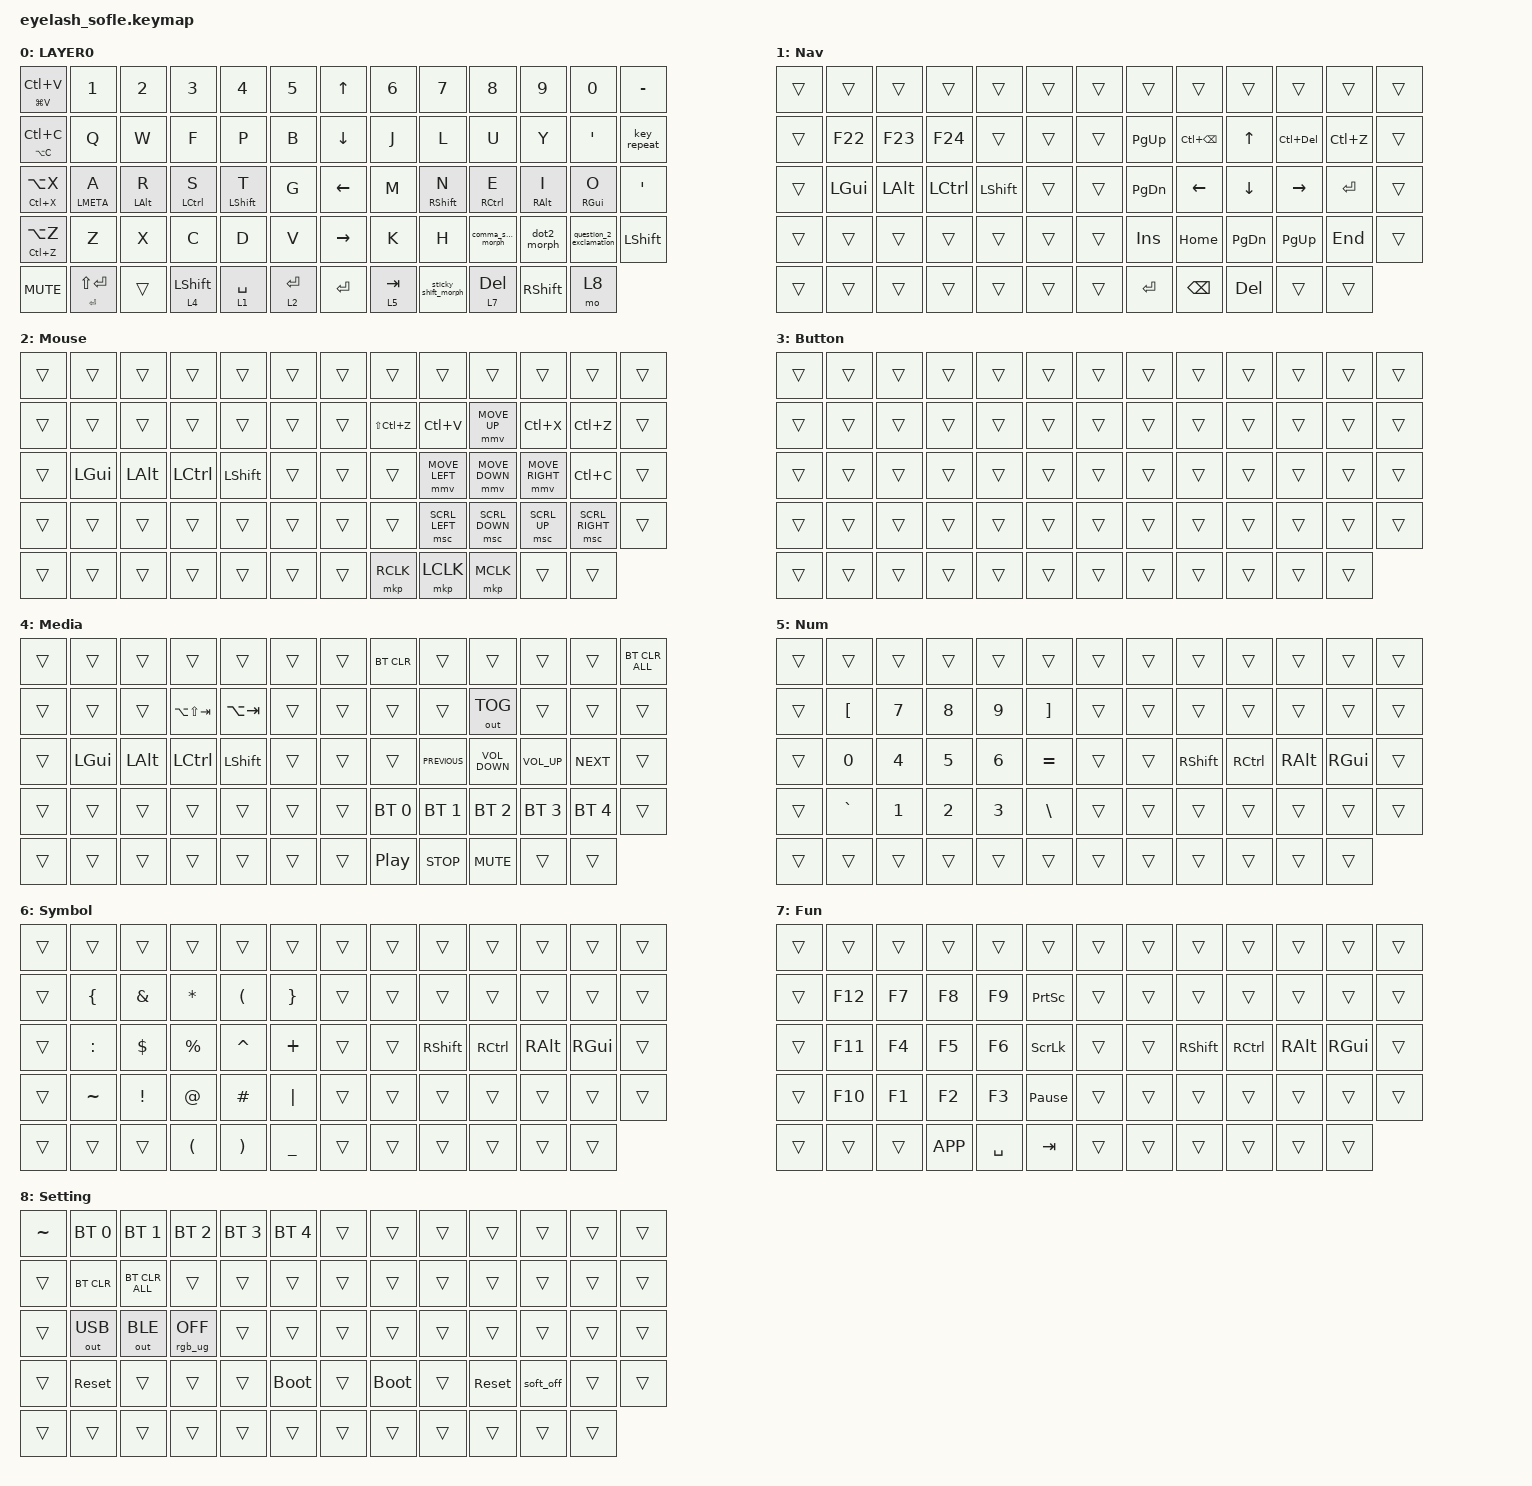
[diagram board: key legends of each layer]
#define ZMK_POINTING_DEFAULT_MOVE_VAL 1200  // 600
#define ZMK_POINTING_DEFAULT_SCRL_VAL 35    // 10

#include <input/processors.dtsi>
#include <zephyr/dt-bindings/input/input-event-codes.h>
#include <behaviors.dtsi>
#include <dt-bindings/zmk/bt.h>
#include <dt-bindings/zmk/keys.h>
#include <dt-bindings/zmk/outputs.h>
#include <dt-bindings/zmk/pointing.h>
#include <dt-bindings/zmk/rgb.h>

/ {
    zip_scroll_scaler: zip_scroll_scaler {
        compatible = "zmk,input-processor-scaler";
        #input-processor-cells = <2>;
        type = <INPUT_EV_REL>;
        codes = <INPUT_REL_WHEEL INPUT_REL_HWHEEL>;
        track-remainders;
    };
};

&mmv_input_listener { input-processors = <&zip_xy_scaler 2 1>; };

&msc_input_listener { input-processors = <&zip_scroll_scaler 2 1>; };

&msc {
    delay-ms = <0>;                   // 0
};

&mmv {
};

&soft_off { hold-time-ms = <2000>; };

&mt {
    flavor = "balanced";
    quick-tap-ms = <170>;
    hold-trigger-key-positions = <7 8 9 10 11 12 20 21 22 23 24 25 33 34 35 36 37 38 46 47 48 49 50 51 59 60 61 62 63>;
    hold-trigger-on-release;
    require-prior-idle-ms = <150>;
    tapping-term-ms = <280>;
};

&lt {
    tapping-term-ms = <250>;
    quick-tap-ms = <170>;
    flavor = "balanced";
};

/ {
    mt_right: mt_right {
        compatible = "zmk,behavior-hold-tap";
        label = "MT_RIGHT";
        bindings = <&kp>, <&kp>;

        #binding-cells = <2>;
        tapping-term-ms = <280>;
        quick-tap-ms = <170>;
        flavor = "balanced";
        hold-trigger-key-positions = <0 1 2 3 4 5 13 14 15 16 17 18 26 27 28 29 30 31 39 40 41 42 43 44 53 54 55 56 57>;
        hold-trigger-on-release;
        require-prior-idle-ms = <150>;
    };

    sticky_shift_lt: sticky_shift_lt {
        compatible = "zmk,behavior-hold-tap";
        label = "STICKY_SHIFT_LT";
        bindings = <&kp>, <&sk>;

        #binding-cells = <2>;
        flavor = "balanced";
        tapping-term-ms = <200>;
    };

    sticky_shift_morph: sticky_shift_morph {
        compatible = "zmk,behavior-mod-morph";
        label = "STICKY_SHIFT_MORPH";
        bindings = <&sticky_shift_lt LEFT_SHIFT LEFT_SHIFT>, <&caps_word>;

        #binding-cells = <0>;
        mods = <(MOD_LSFT)>;
    };

    question_2_exclamation: question_2_exclamation {
        compatible = "zmk,behavior-mod-morph";
        label = "QUESTION_2_EXCLAMATION";
        bindings = <&kp QUESTION>, <&kp EXCLAMATION>;

        #binding-cells = <0>;
        mods = <(MOD_LSFT)>;
    };

    mt_jk_morph: mt_jk_morph {
        compatible = "zmk,behavior-mod-morph";
        label = "MT_JK_MORPH";
        bindings = <&mt_right LS(LCTRL) LEFT_PARENTHESIS>, <&kp LESS_THAN>;

        #binding-cells = <0>;
        mods = <(MOD_LSFT|MOD_RSFT)>;
    };

    mt_kl_morph: mt_kl_morph {
        compatible = "zmk,behavior-mod-morph";
        label = "MT_KL_MORPH";
        bindings =
            <&mt_right RC(RIGHT_ALT) RIGHT_PARENTHESIS>,
            <&kp GREATER_THAN>;

        #binding-cells = <0>;
        mods = <(MOD_LSFT|MOD_RSFT)>;
    };

    comma_semicolon_morph: comma_semicolon_morph {
        compatible = "zmk,behavior-mod-morph";
        label = "COMMA_SEMICOLON_MORPH";
        bindings = <&kp COMMA>, <&kp SEMICOLON>;

        #binding-cells = <0>;
        mods = <(MOD_LSFT|MOD_RSFT)>;
    };

    dot2_morph: dot2_morph {
        compatible = "zmk,behavior-mod-morph";
        label = "DOT2_MORPH";
        bindings = <&kp PERIOD>, <&kp COLON>;

        #binding-cells = <0>;
        mods = <(MOD_LSFT|MOD_RSFT)>;
    };

    behaviors {
    };

    combos {
        compatible = "zmk,combos";

        softoff {
            bindings = <&soft_off>;
            key-positions = <14 28 40>;
        };

        right_bracket {
            bindings = <&kp RIGHT_BRACKET>;
            key-positions = <48 49>;
            require-prior-idle-ms = <120>;
            layers = <0>;
        };

        left_bracket {
            bindings = <&kp LEFT_BRACKET>;
            key-positions = <47 48>;
            require-prior-idle-ms = <120>;
            layers = <0>;
        };

        caret_ju {
            bindings = <&kp CARET>;
            key-positions = <20 33>;
            require-prior-idle-ms = <120>;
        };

        underscore_hn {
            bindings = <&kp UNDERSCORE>;
            key-positions = <33 46>;
            require-prior-idle-ms = <120>;
        };

        backspace_ui {
            bindings = <&kp BACKSPACE>;
            key-positions = <21 22>;
            require-prior-idle-ms = <200>;
            timeout-ms = <40>;
        };

        del_io {
            bindings = <&kp DEL>;
            key-positions = <22 23>;
            require-prior-idle-ms = <150>;
            timeout-ms = <30>;
        };

        Esc_we {
            bindings = <&kp ESCAPE>;
            key-positions = <15 16>;
            require-prior-idle-ms = <150>;
        };

        copy_xc {
            bindings = <&kp LC(C)>;
            key-positions = <41 42>;
            require-prior-idle-ms = <120>;
        };

        paste_cv {
            bindings = <&kp LC(V)>;
            key-positions = <42 43>;
        };

        cut_xv {
            bindings = <&kp LC(X)>;
            key-positions = <41 43>;
        };

        o_o {
            bindings = <&kp PERCENT>;
            key-positions = <18 31>;
            require-prior-idle-ms = <120>;
        };

        tilde_gb {
            bindings = <&kp TILDE>;
            key-positions = <31 44>;
            require-prior-idle-ms = <120>;
        };

        plus_uj {
            bindings = <&kp PLUS>;
            key-positions = <21 34>;
        };

        minus_jm {
            bindings = <&kp MINUS>;
            key-positions = <34 47>;
        };

        asterisk_ik {
            bindings = <&kp ASTERISK>;
            key-positions = <22 35>;
        };

        divident_k {
            bindings = <&kp SLASH>;
            key-positions = <35 48>;
        };

        and_ol {
            bindings = <&kp AMPERSAND>;
            key-positions = <23 36>;
        };

        pipe_Ldot {
            bindings = <&kp PIPE>;
            key-positions = <36 49>;
        };

        at_ws {
            bindings = <&kp AT_SIGN>;
            key-positions = <15 28>;
        };

        backtick_sx {
            bindings = <&kp GRAVE>;
            key-positions = <28 41>;
        };

        hash_ed {
            bindings = <&kp HASH>;
            key-positions = <29 16>;
        };

        backslash_dc {
            bindings = <&kp BACKSLASH>;
            key-positions = <29 42>;
        };

        dollar_rf {
            bindings = <&kp DOLLAR>;
            key-positions = <17 30>;
        };

        equal_fv {
            bindings = <&kp EQUAL>;
            key-positions = <30 43>;
        };

        less_than {
            bindings = <&kp LESS_THAN>;
            key-positions = <34 35 60>;
        };

        greater_than {
            bindings = <&kp GREATER_THAN>;
            key-positions = <35 36 60>;
        };

        left_brace_nav {
            bindings = <&kp LEFT_BRACE>;
            key-positions = <47 48>;
            layers = <1>;
        };

        right_brace_nav {
            bindings = <&kp RIGHT_BRACE>;
            key-positions = <49 48>;
            layers = <1>;
        };

        mod_tap_combo_JK {
            bindings = <&mt_jk_morph>;
            key-positions = <34 35>;
            layers = <0 5>;
            timeout-ms = <20>;
        };

        mod_tap_combo_KL {
            bindings = <&mt_kl_morph>;
            key-positions = <35 36>;
            layers = <0 5>;
            timeout-ms = <20>;
        };

        mod_tap_combo_SD {
            bindings = <&mt LA(LCTRL) TAB>;
            key-positions = <28 29>;
            timeout-ms = <20>;
        };

        greater_than_nav {
            bindings = <&kp GREATER_THAN>;
            key-positions = <35 36>;
            layers = <1>;
            timeout-ms = <20>;
        };

        less_than_nav {
            bindings = <&kp LESS_THAN>;
            key-positions = <34 35>;
            layers = <1>;
            timeout-ms = <20>;
        };
    };

    keymap {
        compatible = "zmk,keymap";

        layer0 {
            bindings = <
&mt LG(V) LC(V)  &kp N1               &kp N2          &kp N3              &kp N4            &kp N5         &kp UP_ARROW     &kp N6     &kp N7                   &kp N8                     &kp N9                 &kp N0                   &kp MINUS
&mt LA(C) LC(C)  &kp Q                &kp W           &kp F               &kp P             &kp B          &kp DOWN_ARROW   &kp J      &kp L                    &kp U                      &kp Y                  &kp SQT                  &key_repeat
&mt LC(X) LA(X)  &mt LMETA A          &mt LEFT_ALT R  &mt LEFT_CONTROL S  &mt LEFT_SHIFT T  &kp G          &kp LEFT_ARROW   &kp M      &mt_right RIGHT_SHIFT N  &mt_right RIGHT_CONTROL E  &mt_right RIGHT_ALT I  &mt_right RIGHT_GUI O    &kp APOS
&mt LC(Z) LA(Z)  &kp Z                &kp X           &kp C               &kp D             &kp V          &kp RIGHT_ARROW  &kp K      &kp H                    &comma_semicolon_morph     &dot2_morph            &question_2_exclamation  &kp LEFT_SHIFT
&kp C_MUTE       &mt ENTER LS(ENTER)  &trans          &lt 4 LEFT_SHIFT    &lt 1 SPACE       &lt 2 ENTER    &kp ENTER        &lt 5 TAB  &sticky_shift_morph      &lt 7 DELETE               &kp RIGHT_SHIFT        &mo 8
            >;

            display-name = "LAYER0";
        };

        Nav {
            bindings = <
&trans  &trans    &trans    &trans     &trans     &trans    &trans  &trans         &trans             &trans         &trans          &trans     &trans
&trans  &kp F22   &kp F23   &kp F24    &trans     &trans    &trans  &kp PAGE_UP    &kp LC(BACKSPACE)  &kp UP         &kp LC(DELETE)  &kp LC(Z)  &trans
&trans  &kp LGUI  &kp LALT  &kp LCTRL  &kp LSHFT  &trans    &trans  &kp PAGE_DOWN  &kp LEFT           &kp DOWN       &kp RIGHT       &kp ENTER  &trans
&trans  &trans    &trans    &trans     &trans     &trans    &trans  &kp INS        &kp HOME           &kp PAGE_DOWN  &kp PAGE_UP     &kp END    &trans
&trans  &trans    &trans    &trans     &trans     &trans    &trans  &kp ENTER      &kp BSPC           &kp DELETE     &trans          &trans
            >;
        };

        Mouse {
            bindings = <
&trans  &trans    &trans    &trans     &trans     &trans    &trans  &trans         &trans          &trans          &trans           &trans           &trans
&trans  &trans    &trans    &trans     &trans     &trans    &trans  &kp LS(LC(Z))  &kp LC(V)       &mmv MOVE_UP    &kp LC(X)        &kp LC(Z)        &trans
&trans  &kp LGUI  &kp LALT  &kp LCTRL  &kp LSHFT  &trans    &trans  &trans         &mmv MOVE_LEFT  &mmv MOVE_DOWN  &mmv MOVE_RIGHT  &kp LC(C)        &trans
&trans  &trans    &trans    &trans     &trans     &trans    &trans  &trans         &msc SCRL_LEFT  &msc SCRL_DOWN  &msc SCRL_UP     &msc SCRL_RIGHT  &trans
&trans  &trans    &trans    &trans     &trans     &trans    &trans  &mkp RCLK      &mkp LCLK       &mkp MCLK       &trans           &trans
            >;
        };

        Button {
            bindings = <
&trans  &trans  &trans  &trans  &trans  &trans    &trans  &trans  &trans  &trans  &trans  &trans  &trans
&trans  &trans  &trans  &trans  &trans  &trans    &trans  &trans  &trans  &trans  &trans  &trans  &trans
&trans  &trans  &trans  &trans  &trans  &trans    &trans  &trans  &trans  &trans  &trans  &trans  &trans
&trans  &trans  &trans  &trans  &trans  &trans    &trans  &trans  &trans  &trans  &trans  &trans  &trans
&trans  &trans  &trans  &trans  &trans  &trans    &trans  &trans  &trans  &trans  &trans  &trans
            >;
        };

        Media {
            bindings = <
&trans  &trans    &trans    &trans           &trans       &trans    &trans  &bt BT_CLR        &trans          &trans             &trans        &trans        &bt BT_CLR_ALL
&trans  &trans    &trans    &kp LA(LS(TAB))  &kp LA(TAB)  &trans    &trans  &trans            &trans          &out OUT_TOG       &trans        &trans        &trans
&trans  &kp LGUI  &kp LALT  &kp LCTRL        &kp LSHFT    &trans    &trans  &trans            &kp C_PREVIOUS  &kp C_VOLUME_DOWN  &kp C_VOL_UP  &kp C_NEXT    &trans
&trans  &trans    &trans    &trans           &trans       &trans    &trans  &bt BT_SEL 0      &bt BT_SEL 1    &bt BT_SEL 2       &bt BT_SEL 3  &bt BT_SEL 4  &trans
&trans  &trans    &trans    &trans           &trans       &trans    &trans  &kp C_PLAY_PAUSE  &kp C_STOP      &kp C_MUTE         &trans        &trans
            >;
        };

        Num {
            bindings = <
&trans  &trans        &trans  &trans  &trans  &trans       &trans  &trans  &trans     &trans     &trans    &trans    &trans
&trans  &kp LBKT      &kp N7  &kp N8  &kp N9  &kp RBKT     &trans  &trans  &trans     &trans     &trans    &trans    &trans
&trans  &kp NUMBER_0  &kp N4  &kp N5  &kp N6  &kp EQUAL    &trans  &trans  &kp RSHFT  &kp RCTRL  &kp RALT  &kp RGUI  &trans
&trans  &kp GRAVE     &kp N1  &kp N2  &kp N3  &kp BSLH     &trans  &trans  &trans     &trans     &trans    &trans    &trans
&trans  &trans        &trans  &trans  &trans  &trans       &trans  &trans  &trans     &trans     &trans    &trans
            >;
        };

        Symbol {
            bindings = <
&trans  &trans     &trans    &trans     &trans     &trans       &trans  &trans  &trans     &trans     &trans    &trans    &trans
&trans  &kp LBRC   &kp AMPS  &kp STAR   &kp LPAR   &kp RBRC     &trans  &trans  &trans     &trans     &trans    &trans    &trans
&trans  &kp COLON  &kp DLLR  &kp PRCNT  &kp CARET  &kp PLUS     &trans  &trans  &kp RSHFT  &kp RCTRL  &kp RALT  &kp RGUI  &trans
&trans  &kp TILDE  &kp EXCL  &kp AT     &kp HASH   &kp PIPE     &trans  &trans  &trans     &trans     &trans    &trans    &trans
&trans  &trans     &trans    &kp LPAR   &kp RPAR   &kp UNDER    &trans  &trans  &trans     &trans     &trans    &trans
            >;
        };

        Fun {
            bindings = <
&trans  &trans   &trans  &trans     &trans     &trans             &trans  &trans  &trans     &trans     &trans    &trans    &trans
&trans  &kp F12  &kp F7  &kp F8     &kp F9     &kp PRINTSCREEN    &trans  &trans  &trans     &trans     &trans    &trans    &trans
&trans  &kp F11  &kp F4  &kp F5     &kp F6     &kp SCROLLLOCK     &trans  &trans  &kp RSHFT  &kp RCTRL  &kp RALT  &kp RGUI  &trans
&trans  &kp F10  &kp F1  &kp F2     &kp F3     &kp PAUSE_BREAK    &trans  &trans  &trans     &trans     &trans    &trans    &trans
&trans  &trans   &trans  &kp K_APP  &kp SPACE  &kp TAB            &trans  &trans  &trans     &trans     &trans    &trans
            >;
        };

        Setting {
            bindings = <
&kp TILDE  &bt BT_SEL 0  &bt BT_SEL 1    &bt BT_SEL 2     &bt BT_SEL 3  &bt BT_SEL 4    &trans  &trans       &trans  &trans      &trans     &trans  &trans
&trans     &bt BT_CLR    &bt BT_CLR_ALL  &trans           &trans        &trans          &trans  &trans       &trans  &trans      &trans     &trans  &trans
&trans     &out OUT_USB  &out OUT_BLE    &rgb_ug RGB_OFF  &trans        &trans          &trans  &trans       &trans  &trans      &trans     &trans  &trans
&trans     &sys_reset    &trans          &trans           &trans        &bootloader     &trans  &bootloader  &trans  &sys_reset  &soft_off  &trans  &trans
&trans     &trans        &trans          &trans           &trans        &trans          &trans  &trans       &trans  &trans      &trans     &trans
            >;
        };
    };
};
